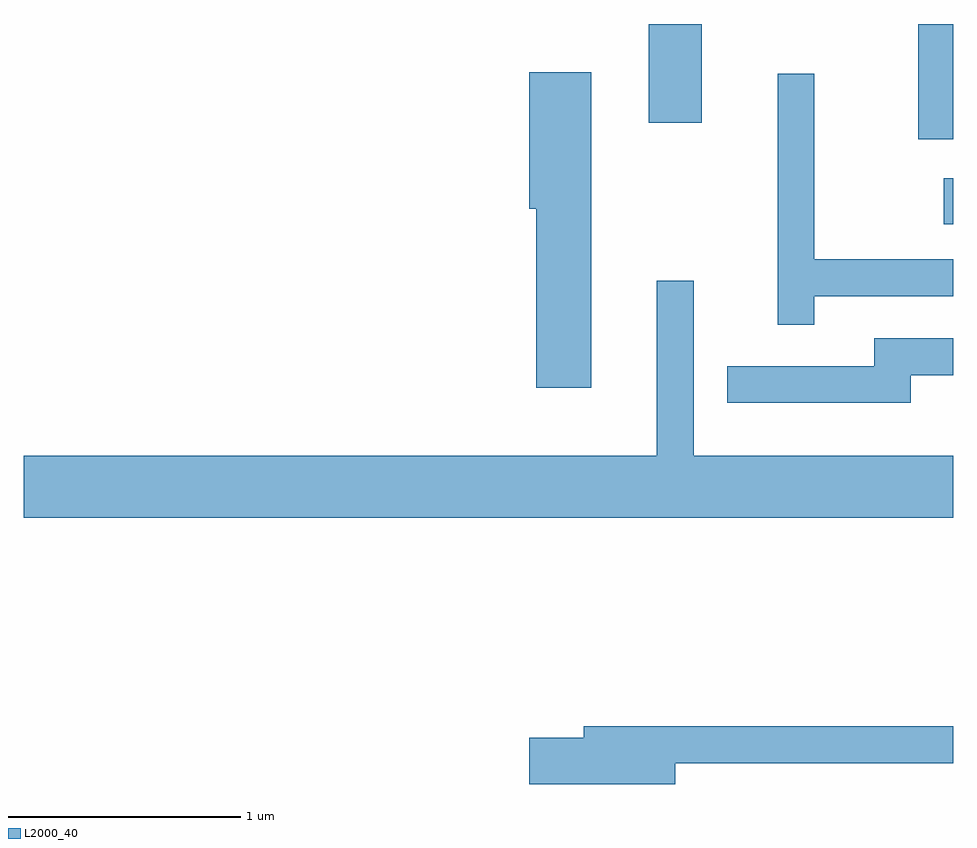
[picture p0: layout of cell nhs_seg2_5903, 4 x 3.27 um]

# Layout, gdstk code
import gdstk
lib = gdstk.Library(unit=1e-6, precision=1e-09)
def R(c, l, rs):  # rectangles x0, y0, x1, y1
    for r in rs: c.add(gdstk.rectangle(r[:2], r[2:], *l))
def P(c, l, *ps):  # polygons
    for p in ps: c.add(gdstk.Polygon(p, *l))
L2000_40 = (2000, 40)

nhs_seg2_5903 = lib.new_cell('nhs_seg2_5903')
R(nhs_seg2_5903, L2000_40, [(363.571,1022.941,363.611,1023.139), (363.461,1023.306,363.611,1023.802), (362.301,1023.376,362.529,1023.802)])
P(nhs_seg2_5903, L2000_40, [(362.054,1023.594),(361.786,1023.594),(361.786,1023.006),(361.816,1023.006),(361.816,1022.236),(362.054,1022.236)],
  [(363.014,1022.631),(363.611,1022.631),(363.611,1022.789),(363.014,1022.789),(363.014,1023.588),(362.856,1023.588),(362.856,1022.508),(363.014,1022.508)],
  [(363.611,1021.944),(362.494,1021.944),(362.494,1022.698),(362.336,1022.698),(362.336,1021.944),(359.611,1021.944),(359.611,1021.676),(363.611,1021.676)],
  [(363.429,1022.291),(363.611,1022.291),(363.611,1022.449),(363.271,1022.449),(363.271,1022.329),(362.638,1022.329),(362.638,1022.171),(363.429,1022.171)],
  [(362.414,1020.621),(363.611,1020.621),(363.611,1020.779),(362.021,1020.779),(362.021,1020.729),(361.786,1020.729),(361.786,1020.531),(362.414,1020.531)])

lib.write_gds('nhs_seg2_5903.gds')
